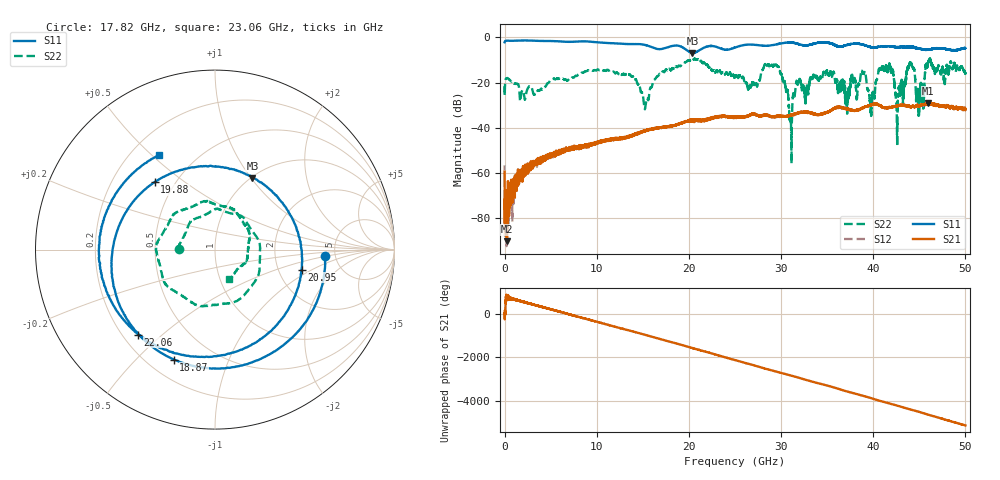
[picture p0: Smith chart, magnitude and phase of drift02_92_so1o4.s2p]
!Created with skrf (http://scikit-rf.org).
# Hz S RI R 50.0
!freq ReS11 ImS11 ReS21 ImS21 ReS12 ImS12 ReS22 ImS22
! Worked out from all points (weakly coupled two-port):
!   10001 points, 300 kHz to 50 GHz, reference 50 ohm
!   highest |S21| = -29.03 dB at 45.94 GHz (marker M1); lowest = -90.4 dB at 260.3 MHz (marker M2)
!   lowest |S11| = -6.9 dB at 20.38 GHz (marker M3), VSWR 2.64, Z = 50.7 + j50.9 ohm
!   |S11| at or under -10 dB: nowhere
!   |S22| runs from -55.9 to -9.2 dB; largest |S21 - S12| = 0.0032
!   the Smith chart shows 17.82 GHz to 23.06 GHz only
!   S11 on the Smith chart (normalised r, x): 17.82 GHz: 4.15, -0.48; 18.87 GHz: 0.30, -0.65; 19.88 GHz: 0.39, +0.39; 20.95 GHz: 2.70, -0.80; 22.06 GHz: 0.26, -0.42; 23.06 GHz: 0.31, +0.53
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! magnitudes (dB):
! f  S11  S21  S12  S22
! 300 kHz  -2.1  -59.5  -56.7  -21.6
! 260.3 MHz  -1.4  -90.4  -73.8  -18.0
! 8.335 GHz  -1.7  -48.1  -48.2  -15.7
! 15.33 GHz  -3.4  -41.2  -41.1  -29.2
! 16.67 GHz  -5.2  -40.0  -40.0  -17.0
! 17.82 GHz  -4.2  -39.5  -39.5  -13.9
! 18.87 GHz  -3.7  -38.5  -38.5  -12.5
! 19.88 GHz  -5.9  -37.1  -37.1  -10.2
! 20.38 GHz  -6.9  -36.5  -36.9  -10.0
! 20.95 GHz  -6.1  -36.8  -36.6  -9.7
! 22.06 GHz  -3.9  -36.1  -36.4  -12.6
! 23.06 GHz  -4.3  -34.9  -35.2  -14.8
! 25 GHz  -4.5  -35.4  -35.3  -17.5
! 29.52 GHz  -3.1  -34.8  -35.1  -12.5
! 31.03 GHz  -2.3  -34.5  -34.7  -34.3
! 33.34 GHz  -3.0  -33.4  -33.5  -18.1
! 38.92 GHz  -3.2  -31.0  -31.1  -16.2
! 39.87 GHz  -4.4  -29.8  -29.9  -26.6
! 41.67 GHz  -3.9  -31.0  -31.2  -13.1
! 42.63 GHz  -4.3  -30.3  -30.3  -33.5
! 45.94 GHz  -5.4  -29.0  -29.4  -11.1
! 50 GHz  -4.7  -31.7  -32.1  -16.3
